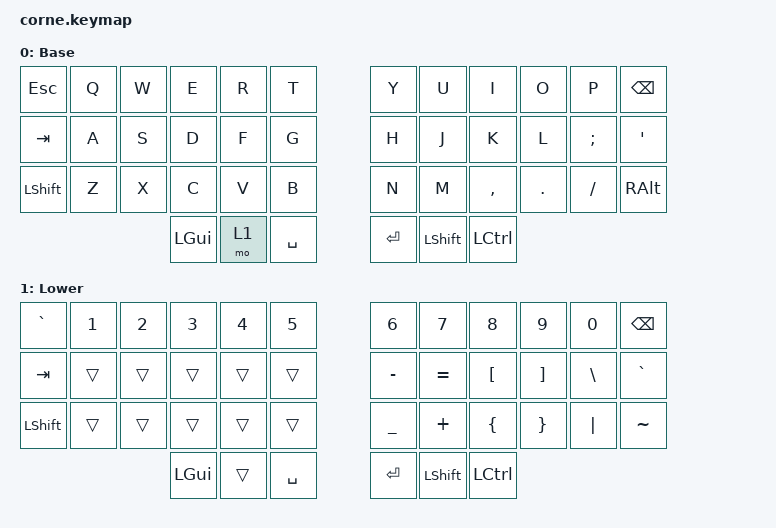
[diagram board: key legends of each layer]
/*
 * Copyright (c) 2020 The ZMK Contributors
 *
 * SPDX-License-Identifier: MIT
 */

#include <behaviors.dtsi>
#include <dt-bindings/zmk/keys.h>
/* #include <dt-bindings/zmk/bt.h> */

/ {
        keymap {
                compatible = "zmk,keymap";

                default_layer {
// -----------------------------------------------------------------------------------------
// | ESC  |  Q  |  W  |  E  |  R  |  T  |   |  Y  |  U   |  I   |  O  |  P  | BKSP |
// | TAB  |  A  |  S  |  D  |  F  |  G  |   |  H  |  J   |  K   |  L  |  ;  |  '   |
// | SHFT |  Z  |  X  |  C  |  V  |  B  |   |  N  |  M   |  ,   |  .  |  /  | ALT  |
//                    | GUI | LWR | SPC |   | ENT | SHFT | CTRL |
                        display-name = "Base";
                        bindings = <
   &kp ESC  &kp Q &kp W &kp E &kp R &kp T    &kp Y &kp U  &kp I     &kp O   &kp P    &kp BSPC
   &kp TAB   &kp A &kp S &kp D &kp F &kp G   &kp H &kp J  &kp K     &kp L   &kp SEMI &kp SQT
   &kp LSHFT &kp Z &kp X &kp C &kp V &kp B   &kp N &kp M  &kp COMMA &kp DOT &kp FSLH &kp RALT
                  &kp LGUI &mo 1 &kp SPACE   &kp RET &kp LSHFT &kp LCTRL
                        >;
                };
                lower_layer {
// -----------------------------------------------------------------------------------------
// |  `   |  1  |  2  |  3  |  4  |  5  |   |  6  |  7   |  8   |  9  |  0  | BKSP |
// | TAB  |     |     |     |     |     |   |  -  |  =   |  [   |  ]  |  \  |  `   |
// | SHFT |     |     |     |     |     |   |  _  |  +   |  {   |  }  | "|" |  ~   |
//                    | GUI |     | SPC |   | ENT | SHFT | CTRL |
                        display-name = "Lower";
                        bindings = <
   &kp GRAVE &kp N1 &kp N2 &kp N3 &kp N4 &kp N5   &kp N6    &kp N7    &kp N8   &kp N9   &kp N0   &kp BSPC
   &kp TAB   &trans &trans &trans &trans &trans   &kp MINUS &kp EQUAL &kp LBKT &kp RBKT &kp BSLH &kp GRAVE
   &kp LSHFT &trans &trans &trans &trans &trans   &kp UNDER &kp PLUS  &kp LBRC &kp RBRC &kp PIPE &kp TILDE
                    	&kp LGUI &trans &kp SPACE   &kp RET &kp LSHFT &kp LCTRL
                        >;
                };

/*                 raise_layer { */
/* // ----------------------------------------------------------------------------------------- */
/* // |  TAB |  !  |  @  |  #  |  $  |  %  |   |  ^  |  &  |  *  |  (  |  )  | BKSP | */
/* // | CTRL |     |     |     |     |     |   |  -  |  =  |  [  |  ]  |  \  |  `   | */
/* // | SHFT |     |     |     |     |     |   |  _  |  +  |  {  |  }  | "|" |  ~   | */
/* //                    | GUI |     | SPC |   | ENT |     | ALT | */
/*                         display-name = "Raise"; */
/*                         bindings = < */
/*    &kp  TAB  &kp EXCL &kp AT &kp HASH &kp DLLR &kp PRCNT   &kp CARET &kp AMPS  &kp KP_MULTIPLY &kp LPAR &kp RPAR &kp BSPC */
/*    &kp LCTRL &trans   &trans &trans   &trans   &trans      &kp MINUS &kp EQUAL &kp LBKT        &kp RBKT &kp BSLH &kp GRAVE */
/*    &kp LSHFT &trans   &trans &trans   &trans   &trans      &kp UNDER &kp PLUS  &kp LBRC        &kp RBRC &kp PIPE &kp TILDE */
/*                     	     &kp LGUI &trans   &kp SPACE   &kp RET   &trans    &kp RALT */
/*                         >; */
/*                 }; */

                extra_1 {
                        status = "reserved";
                };

                extra_2 {
                        status = "reserved";
                };

                extra_3 {
                        status = "reserved";
                };
        };
};
